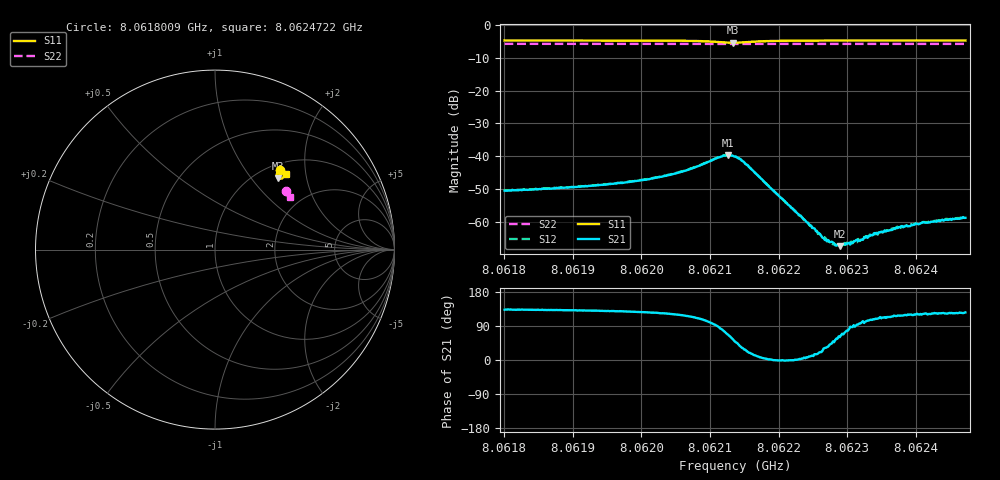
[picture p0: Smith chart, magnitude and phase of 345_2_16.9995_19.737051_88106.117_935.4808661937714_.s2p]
#  HZ  S  RI  R  50.00
! Rohde & Schwarz Vector Network Analyzer
! Rohde-Schwarz,ZNB20-2Port,1311601062101988,3.16
! Created: UTC 3/20/2024, 11:07:35 PM
! freq[Hz]  re:S11  im:S11  re:S21  im:S21  re:S12  im:S12  re:S22  im:S22
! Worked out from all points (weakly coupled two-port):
!   401 points, 8.0618009 GHz to 8.0624722 GHz, reference 50 ohm
!   highest |S21| = -39.59 dB at 8.0621265 GHz (marker M1); lowest = -67.3 dB at 8.0622893 GHz (marker M2)
!   lowest |S11| = -5.5 dB at 8.0621332 GHz (marker M3), VSWR 3.27, Z = 61.8 + j68.8 ohm
!   |S11| at or under -10 dB: nowhere
!   |S22| runs from -5.9 to -5.8 dB; largest |S21 - S12| = 0.00083
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8.06180089e9  0.3642 0.4461  -0.00204 0.00222  -0.00194 0.00232  0.3964 0.3239
8.06191333e9  0.3721 0.4394  -0.0023 0.00264  -0.00212 0.0028  0.4005 0.3182
8.06197543e9  0.3767 0.4344  -0.00248 0.00313  -0.00232 0.00334  0.4029 0.315
8.06202578e9  0.381 0.4284  -0.00269 0.004  -0.00249 0.00422  0.4048 0.3124
8.06206605e9  0.3841 0.4198  -0.00273 0.0055  -0.00242 0.00574  0.4063 0.3102
8.06211472e9  0.3724 0.3967  0.00111 0.00969  0.0017 0.00978  0.407 0.3068
8.06212647e9  0.3589 0.3955  0.00418 0.00961  0.00488 0.00934  0.4068 0.3065
8.06213318e9  0.3511 0.3994  0.00584 0.00841  0.00645 0.00797  0.4067 0.3065
8.06213654e9  0.3478 0.4027  0.00661 0.00746  0.00695 0.00709  0.4068 0.3065
8.06215164e9  0.3441 0.4201  0.00686 0.00347  0.00717 0.00296  0.4074 0.3066
8.06224898e9  0.3753 0.4336  0.000801 0.000164  0.000828 0.000126  0.4122 0.302
8.06226744e9  0.378 0.4324  0.000456 0.000283  0.000533 0.000247  0.4129 0.3011
8.06228087e9  0.3795 0.4315  0.000328 0.00035  0.000354 0.000292  0.4135 0.3006
8.0622859e9  0.38 0.4311  0.000247 0.000371  0.000278 0.000365  0.4136 0.3002
8.06228926e9  0.3804 0.4311  0.000214 0.000375  0.000239 0.000381  0.4137 0.2999
8.06230436e9  0.3819 0.43  1.82e-05 0.000458  7.81e-05 0.000489  0.4143 0.2992
8.06231947e9  0.3832 0.4291  -6.18e-05 0.000528  -2.76e-05 0.00054  0.4149 0.2985
8.06234296e9  0.3853 0.4277  -0.000209 0.000625  -0.000168 0.00067  0.4158 0.2972
8.06236143e9  0.3867 0.4266  -0.000304 0.000689  -0.000275 0.000706  0.4164 0.2962
8.06237653e9  0.3878 0.4257  -0.000376 0.000748  -0.000322 0.000715  0.4168 0.2953
8.06241009e9  0.3904 0.4239  -0.00052 0.000852  -0.000466 0.000891  0.4181 0.2937
8.06247219e9  0.3943 0.4204  -0.000675 0.000947  -0.00062 0.00102  0.4203 0.2905
